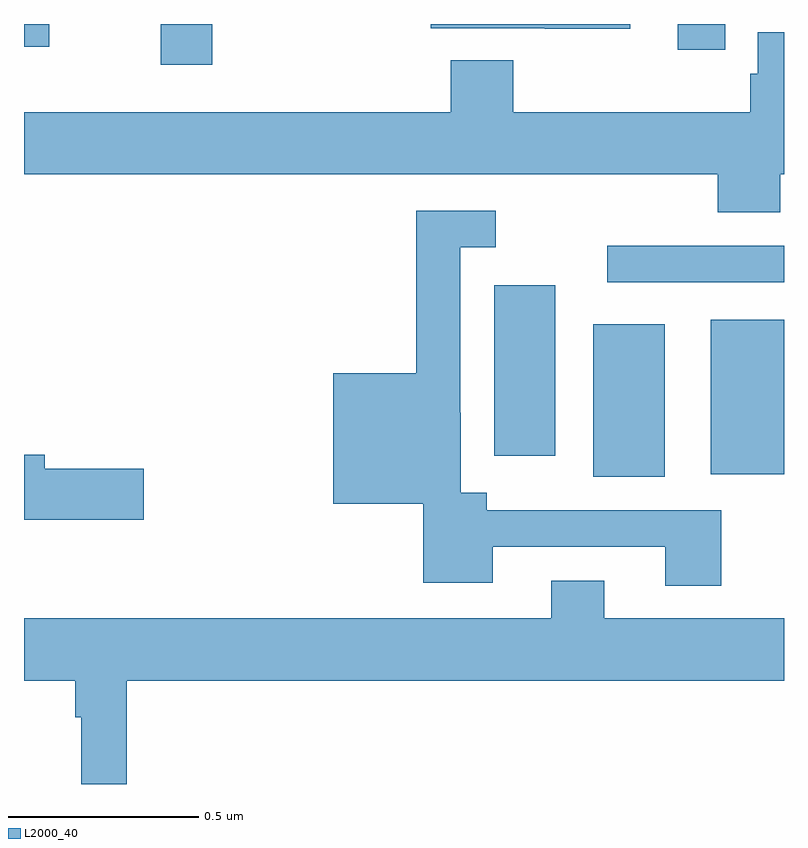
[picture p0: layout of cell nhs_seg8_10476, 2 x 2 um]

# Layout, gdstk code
import gdstk
lib = gdstk.Library(unit=1e-6, precision=1e-09)
def R(c, l, rs):  # rectangles x0, y0, x1, y1
    for r in rs: c.add(gdstk.rectangle(r[:2], r[2:], *l))
def P(c, l, *ps):  # polygons
    for p in ps: c.add(gdstk.Polygon(p, *l))
L2000_40 = (2000, 40)

nhs_seg8_10476 = lib.new_cell('nhs_seg8_10476')
R(nhs_seg8_10476, L2000_40, [(251.498,1111.709,251.686,1112.11), (251.807,1111.715,252,1112.122), (251.237,1111.764,251.398,1112.212), (251.535,1112.22,252,1112.316), (250.36,1112.793,250.495,1112.9), (251.721,1112.832,251.846,1112.9), (250,1112.84,250.066,1112.9)])
P(nhs_seg8_10476, L2000_40, [(251.596,1112.9),(251.071,1112.9),(251.071,1112.889),(251.371,1112.889),(251.371,1112.887),(251.596,1112.887)],
  [(251.99,1112.504),(252,1112.504),(252,1112.878),(251.931,1112.878),(251.931,1112.769),(251.911,1112.769),(251.911,1112.668),(251.288,1112.668),(251.288,1112.804),(251.123,1112.804),(251.123,1112.668),(250,1112.668),(250,1112.504),(251.825,1112.504),(251.825,1112.405),(251.99,1112.405)],
  [(251.835,1111.62),(251.218,1111.62),(251.218,1111.666),(251.149,1111.666),(251.149,1111.877),(251.148,1111.877),(251.148,1112.313),(251.242,1112.313),(251.242,1112.409),(251.032,1112.409),(251.032,1111.981),(250.814,1111.981),(250.814,1111.637),(251.051,1111.637),(251.051,1111.43),(251.233,1111.43),(251.233,1111.524),(251.687,1111.524),(251.687,1111.422),(251.835,1111.422)],
  [(250.315,1111.73),(250.054,1111.73),(250.054,1111.766),(250,1111.766),(250,1111.595),(250.315,1111.595)],
  [(250.271,1111.172),(252,1111.172),(252,1111.336),(251.527,1111.336),(251.527,1111.435),(251.387,1111.435),(251.387,1111.336),(250,1111.336),(250,1111.172),(250.135,1111.172),(250.135,1111.076),(250.15,1111.076),(250.15,1110.9),(250.271,1110.9)])

lib.write_gds('nhs_seg8_10476.gds')
